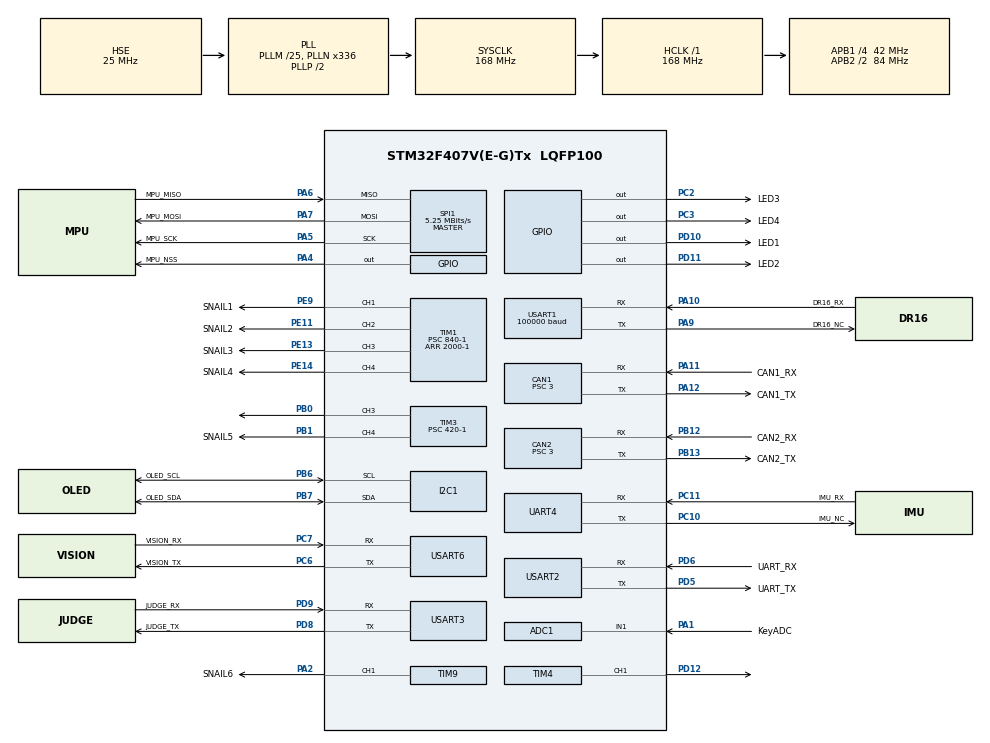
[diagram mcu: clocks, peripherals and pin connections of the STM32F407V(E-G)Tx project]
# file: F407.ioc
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ADC1.Channel-1\#ChannelRegularConversion=ADC_CHANNEL_1
ADC1.Channel-2\#ChannelInjectedConversion=ADC_CHANNEL_1
ADC1.InjNumberOfConversion=1
ADC1.InjectedOffset-2\#ChannelInjectedConversion=0
ADC1.InjectedRank-2\#ChannelInjectedConversion=1
ADC1.NbrOfConversion=1
ADC1.NbrOfConversionFlag=1
ADC1.Rank-1\#ChannelRegularConversion=1
ADC1.SamplingTime-1\#ChannelRegularConversion=ADC_SAMPLETIME_3CYCLES
ADC1.SamplingTime-2\#ChannelInjectedConversion=ADC_SAMPLETIME_3CYCLES
ADC1.master=1
CAN1.BS1=CAN_BS1_10TQ
CAN1.BS2=CAN_BS2_4TQ
CAN1.CalculateBaudRate=933333
CAN1.CalculateTimeBit=1071.42
CAN1.CalculateTimeQuantum=71.42857142857143
CAN1.Prescaler=3
CAN2.BS1=CAN_BS1_10TQ
CAN2.BS2=CAN_BS2_4TQ
CAN2.CalculateBaudRate=933333
CAN2.CalculateTimeBit=1071.42
CAN2.CalculateTimeQuantum=71.42857142857143
CAN2.Prescaler=3
CAN2.SJW=CAN_SJW_1TQ
Dma.Request0=USART1_RX
Dma.Request1=USART3_RX
Dma.Request2=USART3_TX
Dma.USART1_RX.0.Direction=DMA_PERIPH_TO_MEMORY
Dma.USART1_RX.0.FIFOMode=DMA_FIFOMODE_DISABLE
Dma.USART1_RX.0.Instance=DMA2_Stream2
Dma.USART1_RX.0.MemDataAlignment=DMA_MDATAALIGN_BYTE
Dma.USART1_RX.0.MemInc=DMA_MINC_ENABLE
Dma.USART1_RX.0.Mode=DMA_CIRCULAR
Dma.USART1_RX.0.PeriphDataAlignment=DMA_PDATAALIGN_BYTE
Dma.USART1_RX.0.PeriphInc=DMA_PINC_DISABLE
Dma.USART1_RX.0.Priority=DMA_PRIORITY_VERY_HIGH
Dma.USART3_RX.1.Direction=DMA_PERIPH_TO_MEMORY
Dma.USART3_RX.1.FIFOMode=DMA_FIFOMODE_DISABLE
Dma.USART3_RX.1.Instance=DMA1_Stream1
Dma.USART3_RX.1.MemDataAlignment=DMA_MDATAALIGN_BYTE
Dma.USART3_RX.1.MemInc=DMA_MINC_ENABLE
Dma.USART3_RX.1.Mode=DMA_CIRCULAR
Dma.USART3_RX.1.PeriphDataAlignment=DMA_PDATAALIGN_BYTE
Dma.USART3_RX.1.PeriphInc=DMA_PINC_DISABLE
Dma.USART3_RX.1.Priority=DMA_PRIORITY_MEDIUM
Dma.USART3_TX.2.Direction=DMA_MEMORY_TO_PERIPH
Dma.USART3_TX.2.FIFOMode=DMA_FIFOMODE_DISABLE
Dma.USART3_TX.2.Instance=DMA1_Stream3
Dma.USART3_TX.2.MemDataAlignment=DMA_MDATAALIGN_BYTE
Dma.USART3_TX.2.MemInc=DMA_MINC_ENABLE
Dma.USART3_TX.2.Mode=DMA_NORMAL
Dma.USART3_TX.2.PeriphDataAlignment=DMA_PDATAALIGN_BYTE
Dma.USART3_TX.2.PeriphInc=DMA_PINC_DISABLE
Dma.USART3_TX.2.Priority=DMA_PRIORITY_MEDIUM
FREERTOS.Queues01=RDtHMsg,16,uint32_t,0,Dynamic,NULL,NULL;RDtCMsg,16,uint32_t,0,Dynamic,NULL,NULL;RDtSMsg,16,uint32_t,0,Dynamic,NULL,NULL;HDtHMsg,16,uint32_t,0,Dynamic,NULL,NULL
FREERTOS.Tasks01=LED,-3,64,taskLED,Default,NULL,Dynamic,NULL,NULL;MSG,2,128,taskMsg,Default,NULL,Dynamic,NULL,NULL;UI,-1,128,taskUI,Default,NULL,Dynamic,NULL,NULL;KEY,-1,128,taskKey,Default,NULL,Dynamic,NULL,NULL;Chassis,3,512,taskChassis,Default,NULL,Dynamic,NULL,NULL;Holder,3,512,taskHolder,Default,NULL,Dynamic,NULL,NULL;Shoot,3,512,taskShoot,Default,NULL,Dynamic,NULL,NULL;Judge,2,1024,taskJudge,Default,NULL,Dynamic,NULL,NULL
FREERTOS.configENABLE_FPU=1
FREERTOS.configMAX_PRIORITIES=7
FREERTOS.configMINIMAL_STACK_SIZE=64
FREERTOS.configQUEUE_REGISTRY_SIZE=16
I2C1.DualAddressMode=I2C_DUALADDRESS_DISABLE
I2C1.I2C_Mode=I2C_Fast
I2C1.OwnAddress=0
IWDG.Reload=3000
Mcu.Family=STM32F4
Mcu.Name=STM32F407V(E-G)Tx
Mcu.Package=LQFP100
NVIC.CAN1_RX0_IRQn=true\:5\:0\:false\:false\:true\:true\:true\:true
NVIC.CAN1_TX_IRQn=true\:5\:0\:false\:false\:true\:true\:true\:true
NVIC.CAN2_RX0_IRQn=true\:5\:0\:false\:false\:true\:true\:true\:true
NVIC.CAN2_TX_IRQn=true\:5\:0\:false\:false\:true\:true\:true\:true
NVIC.DMA1_Stream1_IRQn=true\:5\:0\:false\:false\:true\:true\:false\:true
NVIC.DMA1_Stream3_IRQn=true\:5\:0\:false\:false\:true\:true\:false\:true
NVIC.DMA2_Stream2_IRQn=true\:5\:0\:false\:false\:true\:true\:false\:true
NVIC.PriorityGroup=NVIC_PRIORITYGROUP_4
NVIC.TIM6_DAC_IRQn=true\:0\:0\:false\:false\:true\:false\:false\:true
NVIC.TIM7_IRQn=true\:1\:0\:true\:false\:true\:false\:true\:true
NVIC.TIM8_TRG_COM_TIM14_IRQn=true\:5\:0\:false\:false\:true\:true\:true\:true
NVIC.TimeBase=TIM6_DAC_IRQn
NVIC.TimeBaseIP=TIM6
NVIC.UART4_IRQn=true\:5\:0\:false\:false\:true\:false\:true\:true
NVIC.USART1_IRQn=true\:0\:0\:true\:false\:true\:false\:true\:true
NVIC.USART2_IRQn=true\:0\:0\:true\:false\:true\:false\:true\:true
NVIC.USART3_IRQn=true\:5\:0\:true\:false\:true\:true\:true\:true
NVIC.USART6_IRQn=true\:5\:0\:false\:false\:true\:true\:true\:true
PA1.GPIO_Label=KeyADC
PA1.Signal=ADCx_IN1
PA10.GPIO_Label=DR16_RX
PA10.Mode=Asynchronous
PA10.Signal=USART1_RX
PA11.GPIO_Label=CAN1_RX
PA11.Mode=CAN_Activate
PA11.Signal=CAN1_RX
PA12.GPIO_Label=CAN1_TX
PA12.Mode=CAN_Activate
PA12.Signal=CAN1_TX
PA13.GPIO_Label=SWDIO
PA13.Mode=Serial_Wire
PA13.Signal=SYS_JTMS-SWDIO
PA14.GPIO_Label=SWCLK
PA14.Mode=Serial_Wire
PA14.Signal=SYS_JTCK-SWCLK
PA2.GPIO_Label=SNAIL6
PA2.Signal=S_TIM9_CH1
PA4.GPIO_Label=MPU_NSS
PA4.GPIO_PuPd=GPIO_PULLUP
PA4.GPIO_Speed=GPIO_SPEED_FREQ_HIGH
PA4.Signal=GPIO_Output
PA5.GPIO_Label=MPU_SCK
PA5.Mode=Full_Duplex_Master
PA5.Signal=SPI1_SCK
PA6.GPIO_Label=MPU_MISO
PA6.Mode=Full_Duplex_Master
PA6.Signal=SPI1_MISO
PA7.GPIO_Label=MPU_MOSI
PA7.Mode=Full_Duplex_Master
PA7.Signal=SPI1_MOSI
PA9.GPIO_Label=DR16_NC
PA9.Mode=Asynchronous
PA9.Signal=USART1_TX
PB0.Signal=S_TIM3_CH3
PB1.GPIO_Label=SNAIL5
PB1.Signal=S_TIM3_CH4
PB12.GPIO_Label=CAN2_RX
PB12.Mode=CAN_Activate
PB12.Signal=CAN2_RX
PB13.GPIO_Label=CAN2_TX
PB13.Mode=CAN_Activate
PB13.Signal=CAN2_TX
PB6.GPIO_Label=OLED_SCL
PB6.Mode=I2C
PB6.Signal=I2C1_SCL
PB7.GPIO_Label=OLED_SDA
PB7.Mode=I2C
PB7.Signal=I2C1_SDA
PC10.GPIO_Label=IMU_NC
PC10.Mode=Asynchronous
PC10.Signal=UART4_TX
PC11.GPIO_Label=IMU_RX
PC11.Mode=Asynchronous
PC11.Signal=UART4_RX
PC2.GPIO_Label=LED3
PC2.GPIO_PuPd=GPIO_PULLUP
PC2.GPIO_Speed=GPIO_SPEED_FREQ_HIGH
PC2.Signal=GPIO_Output
PC3.GPIO_Label=LED4
PC3.GPIO_PuPd=GPIO_PULLUP
PC3.GPIO_Speed=GPIO_SPEED_FREQ_HIGH
PC3.Signal=GPIO_Output
PC6.GPIO_Label=VISION_TX
PC6.Mode=Asynchronous
PC6.Signal=USART6_TX
PC7.GPIO_Label=VISION_RX
PC7.Mode=Asynchronous
PC7.Signal=USART6_RX
PD10.GPIO_Label=LED1
PD10.GPIO_PuPd=GPIO_PULLUP
PD10.GPIO_Speed=GPIO_SPEED_FREQ_HIGH
PD10.Signal=GPIO_Output
PD11.GPIO_Label=LED2
PD11.GPIO_PuPd=GPIO_PULLUP
PD11.GPIO_Speed=GPIO_SPEED_FREQ_HIGH
PD11.Signal=GPIO_Output
PD12.Signal=S_TIM4_CH1
PD5.GPIO_Label=UART_TX
PD5.Mode=Asynchronous
PD5.Signal=USART2_TX
PD6.GPIO_Label=UART_RX
PD6.Mode=Asynchronous
PD6.Signal=USART2_RX
PD8.GPIO_Label=JUDGE_TX
PD8.Mode=Asynchronous
PD8.Signal=USART3_TX
PD9.GPIO_Label=JUDGE_RX
PD9.Mode=Asynchronous
PD9.Signal=USART3_RX
PE11.GPIO_Label=SNAIL2
PE11.Signal=S_TIM1_CH2
PE13.GPIO_Label=SNAIL3
PE13.Signal=S_TIM1_CH3
PE14.GPIO_Label=SNAIL4
PE14.Signal=S_TIM1_CH4
PE9.GPIO_Label=SNAIL1
PE9.Signal=S_TIM1_CH1
PH0-OSC_IN.GPIO_Label=OSC_IN
PH0-OSC_IN.Mode=HSE-External-Oscillator
PH0-OSC_IN.Signal=RCC_OSC_IN
PH1-OSC_OUT.GPIO_Label=OSC_OUT
PH1-OSC_OUT.Mode=HSE-External-Oscillator
PH1-OSC_OUT.Signal=RCC_OSC_OUT
ProjectManager.HeapSize=0x200
ProjectManager.StackSize=0x400
ProjectManager.TargetToolchain=MDK-ARM V5.27
RCC.48MHZClocksFreq_Value=84000000
RCC.AHBFreq_Value=168000000
RCC.APB1CLKDivider=RCC_HCLK_DIV4
RCC.APB1Freq_Value=42000000
RCC.APB1TimFreq_Value=84000000
RCC.APB2CLKDivider=RCC_HCLK_DIV2
RCC.APB2Freq_Value=84000000
RCC.APB2TimFreq_Value=168000000
RCC.CortexFreq_Value=168000000
RCC.HCLKFreq_Value=168000000
RCC.HSE_VALUE=25000000
RCC.HSI_VALUE=16000000
RCC.LSE_VALUE=32768
RCC.PLLM=25
RCC.PLLN=336
RCC.PLLSourceVirtual=RCC_PLLSOURCE_HSE
RCC.SYSCLKFreq_VALUE=168000000
RCC.SYSCLKSource=RCC_SYSCLKSOURCE_PLLCLK
RCC.VCOOutputFreq_Value=336000000
SH.ADCx_IN1.0=ADC1_IN1,IN1
SH.S_TIM1_CH1.0=TIM1_CH1,PWM Generation1 CH1
SH.S_TIM1_CH2.0=TIM1_CH2,PWM Generation2 CH2
SH.S_TIM1_CH3.0=TIM1_CH3,PWM Generation3 CH3
SH.S_TIM1_CH4.0=TIM1_CH4,PWM Generation4 CH4
SH.S_TIM3_CH3.0=TIM3_CH3,PWM Generation3 CH3
SH.S_TIM3_CH4.0=TIM3_CH4,PWM Generation4 CH4
SH.S_TIM4_CH1.0=TIM4_CH1,PWM Generation1 CH1
SH.S_TIM9_CH1.0=TIM9_CH1,PWM Generation1 CH1
SPI1.BaudRatePrescaler=SPI_BAUDRATEPRESCALER_16
SPI1.CLKPhase=SPI_PHASE_2EDGE
SPI1.CLKPolarity=SPI_POLARITY_HIGH
SPI1.CRCCalculation=SPI_CRCCALCULATION_DISABLE
SPI1.CalculateBaudRate=5.25 MBits/s
SPI1.Direction=SPI_DIRECTION_2LINES
SPI1.Mode=SPI_MODE_MASTER
SPI1.VirtualType=VM_MASTER
TIM1.Channel-PWM\ Generation1\ CH1=TIM_CHANNEL_1
TIM1.Channel-PWM\ Generation2\ CH2=TIM_CHANNEL_2
TIM1.Channel-PWM\ Generation3\ CH3=TIM_CHANNEL_3
TIM1.Channel-PWM\ Generation4\ CH4=TIM_CHANNEL_4
TIM1.Period=2000-1
TIM1.Prescaler=840-1
TIM1.Pulse-PWM\ Generation1\ CH1=1000
TIM1.Pulse-PWM\ Generation2\ CH2=1000
TIM1.Pulse-PWM\ Generation3\ CH3=1000
TIM1.Pulse-PWM\ Generation4\ CH4=1000
TIM14.Period=2500-1
TIM14.Prescaler=8400-1
TIM3.Channel-PWM\ Generation3\ CH3=TIM_CHANNEL_3
TIM3.Channel-PWM\ Generation4\ CH4=TIM_CHANNEL_4
TIM3.Period=2000-1
TIM3.Prescaler=420-1
TIM3.Pulse-PWM\ Generation4\ CH4=1000
TIM4.Channel-PWM\ Generation1\ CH1=TIM_CHANNEL_1
TIM4.Period=4000
TIM4.Prescaler=84-1
TIM7.Period=65536-1
TIM7.Prescaler=84-1
TIM9.Channel-PWM\ Generation1\ CH1=TIM_CHANNEL_1
TIM9.Period=2000-1
TIM9.Prescaler=840-1
TIM9.Pulse-PWM\ Generation1\ CH1=1000
UART4.VirtualMode=Asynchronous
USART1.BaudRate=100000
USART1.Mode=MODE_RX
USART1.Parity=PARITY_EVEN
USART1.VirtualMode=VM_ASYNC
USART1.WordLength=WORDLENGTH_9B
USART2.VirtualMode=VM_ASYNC
USART3.VirtualMode=VM_ASYNC
USART6.VirtualMode=VM_ASYNC
VP_FREERTOS_VS_CMSIS_V1.Mode=CMSIS_V1
VP_IWDG_VS_IWDG.Mode=IWDG_Activate
VP_SYS_VS_tim6.Mode=TIM6
VP_TIM14_VS_ClockSourceINT.Mode=Enable_Timer
VP_TIM7_VS_ClockSourceINT.Mode=Enable_Timer
board=custom

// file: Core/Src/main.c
/* USER CODE BEGIN Header */
/**
  ******************************************************************************
  * @file           : main.c
  * @brief          : Main program body
  ******************************************************************************
  * @attention
  *
  * <h2><center>&copy; Copyright (c) 2020 STMicroelectronics.
  * All rights reserved.</center></h2>
  *
  * This software component is licensed by ST under Ultimate Liberty license
  * SLA0044, the "License"; You may not use this file except in compliance with
  * the License. You may obtain a copy of the License at:
  *                             www.st.com/SLA0044
  *
  ******************************************************************************
  */
/* USER CODE END Header */
#include "main.h"
#include "cmsis_os.h"
#include "adc.h"
#include "can.h"
#include "dma.h"
#include "i2c.h"
#include "iwdg.h"
#include "spi.h"
#include "tim.h"
#include "usart.h"
#include "gpio.h"

/* USER CODE BEGIN Includes */
#include "judge.h"
#include "vision.h"
#include "mpu6500.h"
#include "oled.h"
#include <string.h>
#include "judge_tx.h"
#include "iwdg.h"
#include "holder.h"
#include "chassis.h"
/* USER CODE END Includes */

void SystemClock_Config(void);
void MX_FREERTOS_Init(void);

int main(void)
{

  /* MCU Configuration--------------------------------------------------------*/

  /* Reset of all peripherals, Initializes the Flash interface and the Systick. */
  HAL_Init();

  /* Configure the system clock */
  SystemClock_Config();

  /* Initialize all configured peripherals */
  MX_GPIO_Init();
  MX_DMA_Init();
  MX_USART1_UART_Init();
  MX_USART2_UART_Init();
  MX_CAN1_Init();
  MX_CAN2_Init();
  MX_I2C1_Init();
  MX_UART4_Init();
  MX_SPI1_Init();
  MX_TIM7_Init();
  MX_TIM14_Init();
  MX_ADC1_Init();
  MX_TIM1_Init();
  MX_USART3_UART_Init();
  MX_USART6_UART_Init();
  MX_TIM4_Init();
  MX_IWDG_Init();
  MX_TIM3_Init();
  MX_TIM9_Init();
  /* USER CODE BEGIN 2 */
  TIM14_START();
  UART1_RemoteStart();
  CAN1_FilterInit();
  CAN2_FilterInit();
  UART4_IMUStart();
  UART3_JudgeStart();
  UART6_VisionStart();
  TIM1_PWMSTART();
  TIM3_PWMSTART();
  TIM9_PWMSTART();
  TIM4_PWMSTART();
  ADC1_IN1START();
  OLED_Init();
  MX_IWDG_Init();
  /* USER CODE END 2 */

  /* Call init function for freertos objects (in freertos.c) */
  MX_FREERTOS_Init();
  /* Start scheduler */
  osKernelStart();

  /* We should never get here as control is now taken by the scheduler */
  /* Infinite loop */
  while (1)
  {

  }
}

void SystemClock_Config(void)
{
  RCC_OscInitTypeDef RCC_OscInitStruct = {0};
  RCC_ClkInitTypeDef RCC_ClkInitStruct = {0};

  /** Configure the main internal regulator output voltage
  */
  __HAL_RCC_PWR_CLK_ENABLE();
  __HAL_PWR_VOLTAGESCALING_CONFIG(PWR_REGULATOR_VOLTAGE_SCALE1);
  /** Initializes the RCC Oscillators according to the specified parameters
  * in the RCC_OscInitTypeDef structure.
  */
  RCC_OscInitStruct.OscillatorType = RCC_OSCILLATORTYPE_LSI|RCC_OSCILLATORTYPE_HSE;
  RCC_OscInitStruct.HSEState = RCC_HSE_ON;
  RCC_OscInitStruct.LSIState = RCC_LSI_ON;
  RCC_OscInitStruct.PLL.PLLState = RCC_PLL_ON;
  RCC_OscInitStruct.PLL.PLLSource = RCC_PLLSOURCE_HSE;
  RCC_OscInitStruct.PLL.PLLM = 25;
  RCC_OscInitStruct.PLL.PLLN = 336;
  RCC_OscInitStruct.PLL.PLLP = RCC_PLLP_DIV2;
  RCC_OscInitStruct.PLL.PLLQ = 4;
  if (HAL_RCC_OscConfig(&RCC_OscInitStruct) != HAL_OK)
  {
    Error_Handler();
  }
  /** Initializes the CPU, AHB and APB buses clocks
  */
  RCC_ClkInitStruct.ClockType = RCC_CLOCKTYPE_HCLK|RCC_CLOCKTYPE_SYSCLK
                              |RCC_CLOCKTYPE_PCLK1|RCC_CLOCKTYPE_PCLK2;
  RCC_ClkInitStruct.SYSCLKSource = RCC_SYSCLKSOURCE_PLLCLK;
  RCC_ClkInitStruct.AHBCLKDivider = RCC_SYSCLK_DIV1;
  RCC_ClkInitStruct.APB1CLKDivider = RCC_HCLK_DIV4;
  RCC_ClkInitStruct.APB2CLKDivider = RCC_HCLK_DIV2;

  if (HAL_RCC_ClockConfig(&RCC_ClkInitStruct, FLASH_LATENCY_5) != HAL_OK)
  {
    Error_Handler();
  }
}

 /**
  * @brief  Period elapsed callback in non blocking mode
  * @note   This function is called  when TIM6 interrupt took place, inside
  * HAL_TIM_IRQHandler(). It makes a direct call to HAL_IncTick() to increment
  * a global variable "uwTick" used as application time base.
  * @param  htim : TIM handle
  * @retval None
  */
void HAL_TIM_PeriodElapsedCallback(TIM_HandleTypeDef *htim)
{
  if (htim->Instance == TIM6) {
    HAL_IncTick();
  }
  /* USER CODE BEGIN Callback 1 */
  if (htim->Instance == TIM14) {
    Observer.Tx = Observer.Rx;
    memset(&Observer.Rx,0,sizeof(rate_t));
	HAL_IWDG_Refresh(&hiwdg);
  }
  /* USER CODE END Callback 1 */
}

void Error_Handler(void)
{
}

/************************ (C) COPYRIGHT STMicroelectronics *****END OF FILE****/

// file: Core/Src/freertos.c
/* USER CODE BEGIN Header */
/**
  ******************************************************************************
  * File Name          : freertos.c
  * Description        : Code for freertos applications
  ******************************************************************************
  * @attention
  *
  * <h2><center>&copy; Copyright (c) 2020 STMicroelectronics.
  * All rights reserved.</center></h2>
  *
  * This software component is licensed by ST under Ultimate Liberty license
  * SLA0044, the "License"; You may not use this file except in compliance with
  * the License. You may obtain a copy of the License at:
  *                             www.st.com/SLA0044
  *
  ******************************************************************************
  */
/* USER CODE END Header */

#include "FreeRTOS.h"
#include "task.h"
#include "main.h"
#include "cmsis_os.h"

/* USER CODE BEGIN Includes */
#include "usart.h"
#include "tim.h"
#include "ui.h"
#include "message.h"
#include "judge.h"
#include "vision.h"
#include "holder.h"
#include "chassis.h"
#include "shoot.h"
/* USER CODE END Includes */

/* USER CODE BEGIN Variables */
osEvent evt;
/* USER CODE END Variables */
osThreadId LEDHandle;
osThreadId MSGHandle;
osThreadId UIHandle;
osThreadId KEYHandle;
osThreadId ChassisHandle;
osThreadId HolderHandle;
osThreadId ShootHandle;
osThreadId JudgeHandle;
osMessageQId RDtHMsgHandle;
osMessageQId RDtCMsgHandle;
osMessageQId RDtSMsgHandle;
osMessageQId HDtHMsgHandle;

void taskLED(void const * argument);
void taskMsg(void const * argument);
void taskUI(void const * argument);
void taskKey(void const * argument);
void taskChassis(void const * argument);
void taskHolder(void const * argument);
void taskShoot(void const * argument);
void taskJudge(void const * argument);

void MX_FREERTOS_Init(void); /* (MISRA C 2004 rule 8.1) */

/* GetIdleTaskMemory prototype (linked to static allocation support) */
void vApplicationGetIdleTaskMemory( StaticTask_t **ppxIdleTaskTCBBuffer, StackType_t **ppxIdleTaskStackBuffer, uint32_t *pulIdleTaskStackSize );

/* USER CODE BEGIN GET_IDLE_TASK_MEMORY */
static StaticTask_t xIdleTaskTCBBuffer;
static StackType_t xIdleStack[configMINIMAL_STACK_SIZE];

void vApplicationGetIdleTaskMemory(StaticTask_t **ppxIdleTaskTCBBuffer, StackType_t **ppxIdleTaskStackBuffer, uint32_t *pulIdleTaskStackSize)
{
    *ppxIdleTaskTCBBuffer = &xIdleTaskTCBBuffer;
    *ppxIdleTaskStackBuffer = &xIdleStack[0];
    *pulIdleTaskStackSize = configMINIMAL_STACK_SIZE;
    /* place for user code */
}
/* USER CODE END GET_IDLE_TASK_MEMORY */

void MX_FREERTOS_Init(void) {

  /* Create the queue(s) */
  /* definition and creation of RDtHMsg */
  osMessageQDef(RDtHMsg, 16, uint32_t);
  RDtHMsgHandle = osMessageCreate(osMessageQ(RDtHMsg), NULL);

  /* definition and creation of RDtCMsg */
  osMessageQDef(RDtCMsg, 16, uint32_t);
  RDtCMsgHandle = osMessageCreate(osMessageQ(RDtCMsg), NULL);

  /* definition and creation of RDtSMsg */
  osMessageQDef(RDtSMsg, 16, uint32_t);
  RDtSMsgHandle = osMessageCreate(osMessageQ(RDtSMsg), NULL);

  /* definition and creation of HDtHMsg */
  osMessageQDef(HDtHMsg, 16, uint32_t);
  HDtHMsgHandle = osMessageCreate(osMessageQ(HDtHMsg), NULL);

  /* Create the thread(s) */
  /* definition and creation of LED */
  osThreadDef(LED, taskLED, osPriorityIdle, 0, 64);
  LEDHandle = osThreadCreate(osThread(LED), NULL);

  /* definition and creation of MSG */
  osThreadDef(MSG, taskMsg, osPriorityHigh, 0, 128);
  MSGHandle = osThreadCreate(osThread(MSG), NULL);

  /* definition and creation of UI */
  osThreadDef(UI, taskUI, osPriorityBelowNormal, 0, 128);
  UIHandle = osThreadCreate(osThread(UI), NULL);

  /* definition and creation of KEY */
  osThreadDef(KEY, taskKey, osPriorityBelowNormal, 0, 128);
  KEYHandle = osThreadCreate(osThread(KEY), NULL);

  /* definition and creation of Chassis */
  osThreadDef(Chassis, taskChassis, osPriorityRealtime, 0, 512);
  ChassisHandle = osThreadCreate(osThread(Chassis), NULL);

  /* definition and creation of Holder */
  osThreadDef(Holder, taskHolder, osPriorityRealtime, 0, 512);
  HolderHandle = osThreadCreate(osThread(Holder), NULL);

  /* definition and creation of Shoot */
  osThreadDef(Shoot, taskShoot, osPriorityRealtime, 0, 512);
  ShootHandle = osThreadCreate(osThread(Shoot), NULL);

  /* definition and creation of Judge */
  osThreadDef(Judge, taskJudge, osPriorityHigh, 0, 1024);
  JudgeHandle = osThreadCreate(osThread(Judge), NULL);

}

void taskLED(void const * argument)
{
  /* USER CODE BEGIN taskLED */
    HAL_GPIO_WritePin(GPIOD, LED1_Pin, GPIO_PIN_RESET);
    HAL_GPIO_WritePin(GPIOD, LED2_Pin, GPIO_PIN_SET);
    HAL_GPIO_WritePin(GPIOC, LED3_Pin, GPIO_PIN_RESET);
    HAL_GPIO_WritePin(GPIOC, LED4_Pin, GPIO_PIN_SET);
    RemoteData_t *RDMsg;

    /* Infinite loop */
    for (;;)
    {
        HAL_GPIO_TogglePin(GPIOD, LED1_Pin);
        HAL_GPIO_TogglePin(GPIOD, LED2_Pin);
        HAL_GPIO_TogglePin(GPIOC, LED3_Pin);
        HAL_GPIO_TogglePin(GPIOC, LED4_Pin);

        uint8_t id = (uint8_t)JUDGE_u8GetRobotId();

        evt = osMessageGet(RDtCMsgHandle,0);
        if(evt.status == osEventMessage)
        {
            RDMsg = (RemoteData_t*)evt.value.v;
        }

        Vision_SendData(*RDMsg);

        osDelay(5);
    }
  /* USER CODE END taskLED */
}

void taskMsg(void const * argument)
{
  /* USER CODE BEGIN taskMsg */
    /* Infinite loop */
    for (;;)
    {
        RemoteData_t RDMsg;
        HolderData_t HDMsg;
        RemoteDataMsg_Process(&RDMsg);
        HolderDataMsg_Process(&HDMsg);
        osMessagePut(RDtHMsgHandle, (uint32_t)&RDMsg, 0);
        osMessagePut(RDtCMsgHandle, (uint32_t)&RDMsg, 0);
        osMessagePut(HDtHMsgHandle, (uint32_t)&HDMsg, 0);
        osMessagePut(RDtSMsgHandle, (uint32_t)&RDMsg, 0);
        osDelay(10);
    }
  /* USER CODE END taskMsg */
}

void taskUI(void const * argument)
{
  /* USER CODE BEGIN taskUI */
    UI_Init();
    /* Infinite loop */
    for (;;)
    {
        UI_Process();
        osDelay(10);
    }
  /* USER CODE END taskUI */
}

void taskKey(void const * argument)
{
  /* USER CODE BEGIN taskKey */
    /* Infinite loop */
    for (;;)
    {
        Key_Process();
        osDelay(10);
    }
  /* USER CODE END taskKey */
}

void taskChassis(void const * argument)
{
  /* USER CODE BEGIN taskChassis */
    RemoteData_t *RDMsg;
    Chassis_Init();
    /* Infinite loop */
    for(;;)
    {
        evt = osMessageGet(RDtCMsgHandle,0);
        if(evt.status == osEventMessage)
        {
            RDMsg = (RemoteData_t*)evt.value.v;
        }
        Chassis_Process(*RDMsg);
        osDelay(5);
    }
  /* USER CODE END taskChassis */
}

void taskHolder(void const * argument)
{
  /* USER CODE BEGIN taskHolder */
    osDelay(500);
    HolderData_t *HDMsg;
    RemoteData_t *RDMsg;
    evt = osMessageGet(HDtHMsgHandle,0);
    if(evt.status == osEventMessage)
    {
        HDMsg = (HolderData_t*)evt.value.v;
    }

    Holder_Init(*HDMsg);
    /* Infinite loop */
    for(;;)
    {
        evt = osMessageGet(HDtHMsgHandle,0);
        if(evt.status == osEventMessage)
        {
            HDMsg = (HolderData_t*)evt.value.v;
        }
        evt = osMessageGet(RDtHMsgHandle,0);
        if(evt.status == osEventMessage)
        {
            RDMsg = (RemoteData_t*)evt.value.v;
        }
        Holder_Process(*HDMsg,*RDMsg);
        osDelay(1);
    }
  /* USER CODE END taskHolder */
}

void taskShoot(void const * argument)
{
  /* USER CODE BEGIN taskShoot */
    RemoteData_t *RDMsg;
    Shoot_PidInit();
    /* Infinite loop */
    for (;;)
    {
        evt = osMessageGet(RDtSMsgHandle, 0);
        if (evt.status == osEventMessage)
        {
            RDMsg = (RemoteData_t *)evt.value.v;
        }
        Shoot_Process(*RDMsg);
        osDelay(1);
    }
  /* USER CODE END taskShoot */
}

void taskJudge(void const * argument)
{
  /* USER CODE BEGIN taskJudge */
    Judge_InitData();
    /* Infinite loop */
    for (;;)
    {
        Judge_Proccess();
        osDelay(10);
    }
  /* USER CODE END taskJudge */
}

/************************ (C) COPYRIGHT STMicroelectronics *****END OF FILE****/
